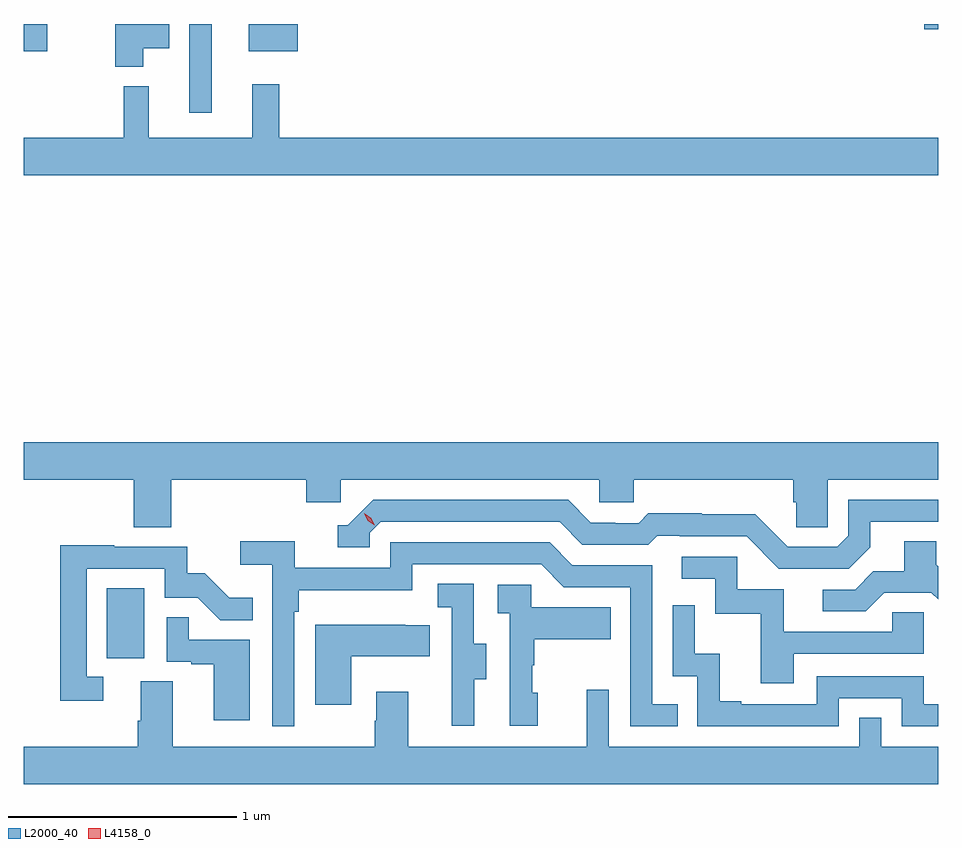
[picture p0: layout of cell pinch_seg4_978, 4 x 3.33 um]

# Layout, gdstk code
import gdstk
lib = gdstk.Library(unit=1e-6, precision=1e-09)
def R(c, l, rs):  # rectangles x0, y0, x1, y1
    for r in rs: c.add(gdstk.rectangle(r[:2], r[2:], *l))
def P(c, l, *ps):  # polygons
    for p in ps: c.add(gdstk.Polygon(p, *l))
L2000_40 = (2000, 40)
L4158_0 = (4158, 0)

pinch_seg4_978 = lib.new_cell('pinch_seg4_978')
R(pinch_seg4_978, L2000_40, [(887.93,788.046,888.094,788.353), (888.291,790.434,888.388,790.822), (887.567,790.703,887.668,790.822), (888.551,790.703,888.766,790.822), (891.506,790.798,891.567,790.822)])
P(pinch_seg4_978, L2000_40, [(888.088,790.715),(888.202,790.715),(888.202,790.822),(887.966,790.822),(887.966,790.634),(888.088,790.634)],
  [(891.567,790.324),(888.683,790.324),(888.683,790.558),(888.566,790.558),(888.566,790.324),(888.113,790.324),(888.113,790.549),(888.003,790.549),(888.003,790.324),(887.567,790.324),(887.567,790.16),(891.567,790.16)],
  [(888.212,788.828),(888.803,788.828),(888.803,788.73),(888.954,788.73),(888.954,788.828),(890.085,788.828),(890.085,788.73),(890.235,788.73),(890.235,788.828),(890.933,788.828),(890.933,788.73),(890.947,788.73),(890.947,788.62),(891.084,788.62),(891.084,788.828),(891.567,788.828),(891.567,788.992),(887.567,788.992),(887.567,788.828),(888.047,788.828),(888.047,788.62),(888.212,788.62)],
  [(891.271,788.533),(891.271,788.643),(891.567,788.643),(891.567,788.739),(891.174,788.739),(891.174,788.583),(891.126,788.535),(890.91,788.535),(890.768,788.677),(890.532,788.677),(890.532,788.68),(890.299,788.68),(890.257,788.637),(890.154,788.637),(890.154,788.64),(890.047,788.64),(889.948,788.739),(889.095,788.739),(888.984,788.628),(888.941,788.628),(888.941,788.532),(889.08,788.532),(889.08,788.595),(889.128,788.643),(889.911,788.643),(890.01,788.544),(890.299,788.544),(890.338,788.583),(890.437,788.583),(890.437,788.58),(890.73,788.58),(890.871,788.439),(891.177,788.439)],
  [(888.75,788.249),(888.77,788.249),(888.77,788.345),(889.266,788.345),(889.266,788.457),(889.83,788.457),(889.929,788.358),(890.22,788.358),(890.22,787.749),(890.429,787.749),(890.429,787.845),(890.316,787.845),(890.316,788.454),(889.966,788.454),(889.867,788.553),(889.17,788.553),(889.17,788.442),(888.752,788.442),(888.752,788.558),(888.513,788.558),(888.513,788.456),(888.654,788.456),(888.654,787.749),(888.75,787.749)],
  [(891.331,788.334),(891.537,788.334),(891.567,788.304),(891.567,788.448),(891.559,788.456),(891.559,788.558),(891.419,788.558),(891.419,788.426),(891.284,788.426),(891.204,788.346),(891.063,788.346),(891.063,788.253),(891.25,788.253)],
  [(887.914,787.965),(887.841,787.965),(887.841,788.439),(888.183,788.439),(888.183,788.31),(888.327,788.31),(888.425,788.212),(888.569,788.212),(888.569,788.311),(888.465,788.311),(888.358,788.418),(888.282,788.418),(888.282,788.535),(887.963,788.535),(887.963,788.54),(887.725,788.54),(887.725,787.86),(887.914,787.86)],
  [(890.935,788.067),(891.504,788.067),(891.504,788.247),(891.367,788.247),(891.367,788.163),(890.893,788.163),(890.893,788.349),(890.688,788.349),(890.688,788.49),(890.445,788.49),(890.445,788.394),(890.592,788.394),(890.592,788.241),(890.791,788.241),(890.791,787.938),(890.935,787.938)],
  [(889.537,787.954),(889.591,787.954),(889.591,788.109),(889.536,788.109),(889.536,788.372),(889.377,788.372),(889.377,788.269),(889.44,788.269),(889.44,787.965),(889.439,787.965),(889.439,787.752),(889.537,787.752)],
  [(889.816,787.896),(889.791,787.896),(889.791,788.015),(889.801,788.015),(889.801,788.129),(890.135,788.129),(890.135,788.269),(889.788,788.269),(889.788,788.367),(889.641,788.367),(889.641,788.243),(889.692,788.243),(889.692,787.752),(889.816,787.752)],
  [(891.132,787.872),(891.408,787.872),(891.408,787.749),(891.567,787.749),(891.567,787.845),(891.504,787.845),(891.504,787.968),(891.036,787.968),(891.036,787.845),(890.707,787.845),(890.707,787.858),(890.612,787.858),(890.612,788.066),(890.502,788.066),(890.502,788.278),(890.406,788.278),(890.406,787.968),(890.514,787.968),(890.514,787.749),(891.132,787.749)],
  [(888.556,788.127),(888.287,788.127),(888.287,788.225),(888.192,788.225),(888.192,788.031),(888.299,788.031),(888.299,788.019),(888.398,788.019),(888.398,787.776),(888.556,787.776)],
  [(889,788.054),(889.343,788.054),(889.343,788.191),(889.235,788.191),(889.235,788.194),(888.842,788.194),(888.842,787.842),(889,787.842)],
  [(891.567,787.66),(891.318,787.66),(891.318,787.787),(891.222,787.787),(891.222,787.66),(890.127,787.66),(890.127,787.909),(890.03,787.909),(890.03,787.66),(889.249,787.66),(889.249,787.9),(889.109,787.9),(889.109,787.772),(889.102,787.772),(889.102,787.66),(888.217,787.66),(888.217,787.946),(888.077,787.946),(888.077,787.772),(888.065,787.772),(888.065,787.66),(887.567,787.66),(887.567,787.496),(891.567,787.496)])
P(pinch_seg4_978, L4158_0, [(889.102,788.628),(889.071,788.647),(889.056,788.68),(889.056,788.68),(889.056,788.68),(889.086,788.66),(889.102,788.628),(889.102,788.628)])

lib.write_gds('pinch_seg4_978.gds')
